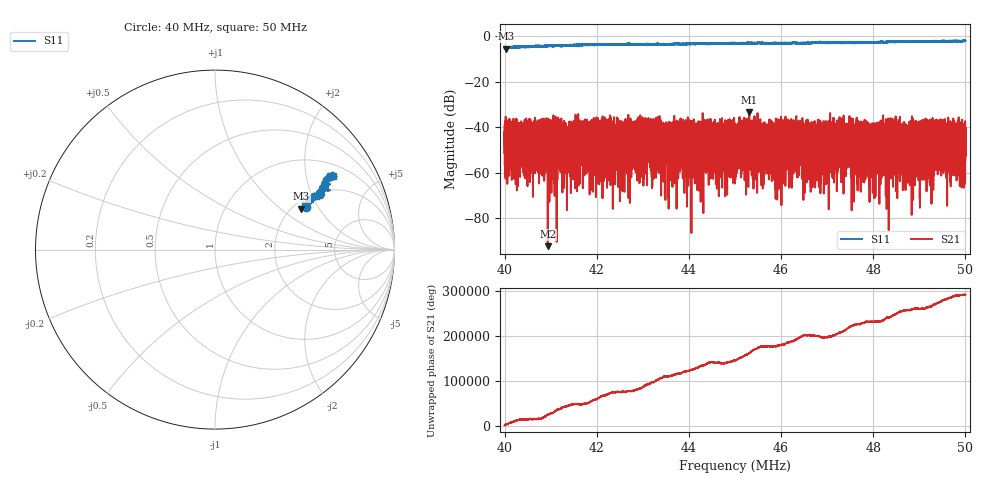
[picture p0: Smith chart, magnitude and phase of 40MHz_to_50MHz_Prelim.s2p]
# HZ S RI R 50
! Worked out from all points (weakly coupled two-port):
!   20200 points, 40 MHz to 50 MHz, reference 50 ohm
!   highest |S21| = -33.43 dB at 45.31 MHz (marker M1); lowest = -92.2 dB at 40.94 MHz (marker M2)
!   lowest |S11| = -5.5 dB at 40.03 MHz (marker M3), VSWR 3.28, Z = 112 + j71 ohm
!   |S11| at or under -10 dB: nowhere
!   S12 and S22 are empty: the file has one direction only
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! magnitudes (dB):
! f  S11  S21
! 40 MHz  -5.0  -47.5
! 40.03 MHz  -5.5  -41.7
! 40.53 MHz  -4.6  -51.0
! 40.94 MHz  -4.4  -92.2
! 41.34 MHz  -4.0  -48.7
! 41.67 MHz  -4.0  -46.4
! 42.68 MHz  -3.5  -57.1
! 43.33 MHz  -3.6  -40.8
! 43.74 MHz  -3.5  -46.6
! 43.83 MHz  -3.5  -44.6
! 44.18 MHz  -3.3  -38.7
! 45 MHz  -3.1  -44.6
! 45.31 MHz  -3.1  -33.4
! 45.63 MHz  -3.2  -58.6
! 46.24 MHz  -3.0  -46.3
! 46.67 MHz  -3.1  -50.0
! 47.44 MHz  -2.9  -49.7
! 47.91 MHz  -2.9  -49.9
! 48.33 MHz  -2.6  -44.9
! 48.98 MHz  -2.4  -48.8
! 49.45 MHz  -2.4  -45.0
! 50 MHz  -2.0  -50.0
